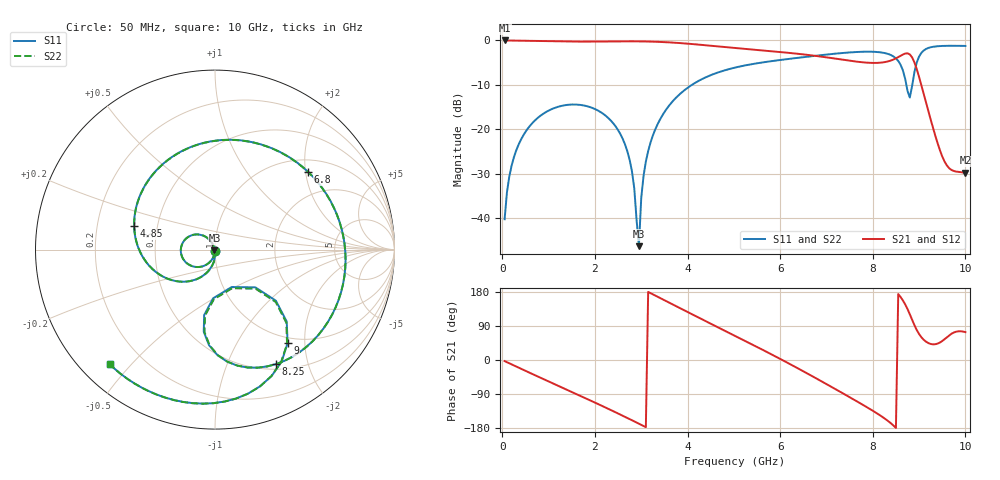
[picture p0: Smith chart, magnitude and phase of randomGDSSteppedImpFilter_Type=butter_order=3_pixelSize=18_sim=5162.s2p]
! freq	dB(S11)	phase(S11)	dB(S12)	phase(S12)
!  dB(S21)	phase(S21)	dB(S22)	phase(S22)
!S-par simulation data
#  GHz  S  DB  R 50
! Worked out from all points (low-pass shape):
!   200 points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, 50 MHz to 10 GHz, reference 50 ohm
!   highest |S21| = -0.01 dB at 50 MHz (marker M1); lowest = -29.7 dB at 10 GHz (marker M2)
!   |S21| within 3 dB of the highest: start of sweep to 6.387 GHz; 8.687 GHz to 8.772 GHz (84.86 MHz wide, 0.972 % of centre)
!   lowest |S11| = -46.2 dB at 2.95 GHz (marker M3), VSWR 1.01, Z = 49.7 - j0.391 ohm
!   |S11| at or under -10 dB: start of sweep to 4.092 GHz; 8.725 GHz to 8.854 GHz (128.2 MHz wide, 1.46 % of centre)
!   |S22| runs from -47.6 to -1.2 dB; largest |S21 - S12| = 0
!   S11 on the Smith chart (normalised r, x): 50 MHz: 1.00, -0.02; 4.85 GHz: 0.37, +0.12; 6.8 GHz: 1.29, +2.07; 8.25 GHz: 0.57, -1.51; 9 GHz: 0.90, -1.66; 10 GHz: 0.08, -0.44
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0.05  -40.18 -92.6  -0.01 -2.9  -0.01 -2.9  -40.18 -92.6
0.2  -28.18 -101.5  -0.03 -11.5  -0.03 -11.5  -28.18 -101.6
0.5  -20.56 -118.8  -0.07 -28.5  -0.07 -28.5  -20.56 -118.8
1.75  -14.59 171.3  -0.27 -98.3  -0.27 -98.3  -14.60 171.0
2.65  -23.37 121.3  -0.20 -150.0  -0.20 -150.0  -23.38 120.3
2.85  -33.26 114.6  -0.20 -162.1  -0.20 -162.1  -33.33 111.4
2.95  -46.23 -126.3  -0.21 -168.1  -0.21 -168.1  -47.56 -113.1
3.05  -30.45 -90.6  -0.23 -174.2  -0.23 -174.2  -30.46 -88.4
3.4  -17.88 -108.0  -0.33 164.1  -0.33 164.1  -17.88 -107.6
4.15  -9.62 -153.6  -0.86 117.4  -0.86 117.4  -9.62 -153.6
4.85  -6.58 163.9  -1.53 74.5  -1.53 74.5  -6.58 163.7
5.05  -6.04 151.8  -1.72 62.2  -1.72 62.2  -6.04 151.5
5.9  -4.53 99.1  -2.51 9.3  -2.51 9.3  -4.53 98.7
6.7  -3.52 46.6  -3.38 -43.2  -3.38 -43.2  -3.52 46.2
6.8  -3.40 39.9  -3.52 -49.9  -3.52 -49.9  -3.40 39.5
7.55  -2.66 -11.4  -4.63 -101.6  -4.63 -101.6  -2.66 -11.7
8.25  -2.82 -61.9  -4.88 -153.8  -4.88 -153.8  -2.82 -61.9
8.35  -3.11 -70.1  -4.65 -162.9  -4.65 -162.9  -3.10 -70.1
8.8  -12.83 -66.0  -3.14 120.5  -3.14 120.5  -12.56 -66.0
9  -3.61 -52.2  -8.21 68.5  -8.21 68.5  -3.58 -52.7
9.55  -1.22 -105.3  -27.21 55.0  -27.21 55.0  -1.22 -105.3
10  -1.24 -132.6  -29.74 73.6  -29.74 73.6  -1.23 -132.5
